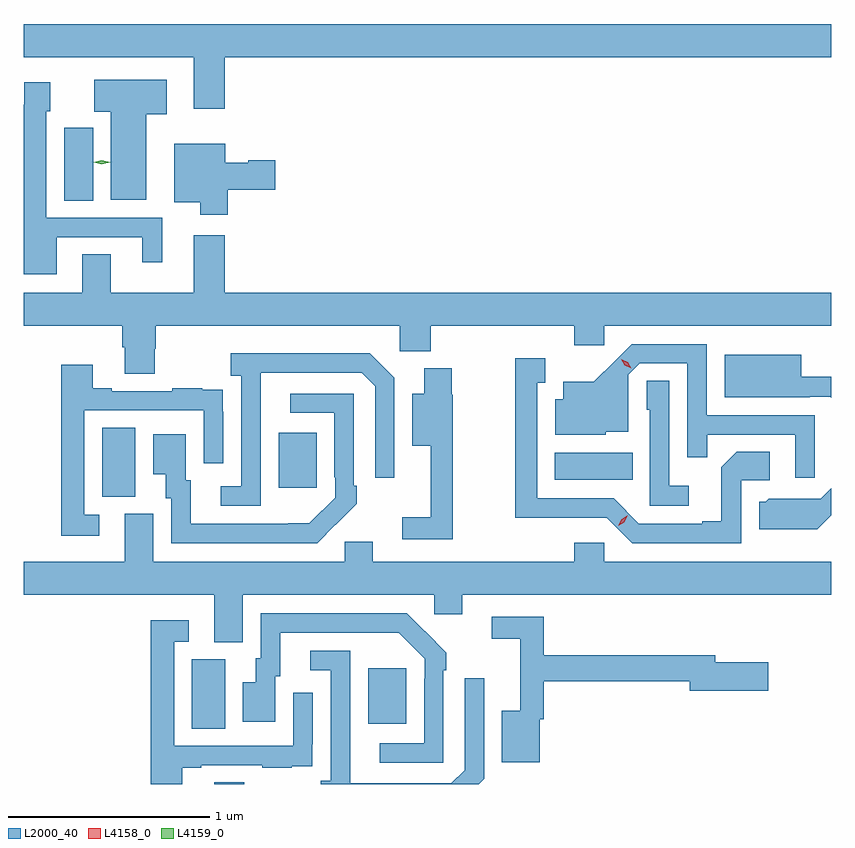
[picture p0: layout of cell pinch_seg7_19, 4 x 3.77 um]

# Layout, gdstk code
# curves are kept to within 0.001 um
import gdstk
lib = gdstk.Library(unit=1e-6, precision=1e-09)
def R(c, l, rs):  # rectangles x0, y0, x1, y1
    for r in rs: c.add(gdstk.rectangle(r[:2], r[2:], *l))
def P(c, l, *ps):  # polygons
    for p in ps: c.add(gdstk.Polygon(p, *l))
L2000_40 = (2000, 40)
L4158_0 = (4158, 0)
L4159_0 = (4159, 0)

pinch_seg7_19 = lib.new_cell('pinch_seg7_19')
R(pinch_seg7_19, L2000_40, [(1018.133,1058.286,1018.281,1058.294), (1018.022,1058.56,1018.186,1058.904), (1018.895,1058.585,1019.083,1058.86), (1017.578,1059.709,1017.742,1060.052), (1018.451,1059.753,1018.639,1060.027), (1019.819,1059.794,1020.206,1059.928), (1017.389,1061.176,1017.532,1061.537)])
P(pinch_seg7_19, L2000_40, [(1018.184,1061.888),(1021.189,1061.888),(1021.189,1062.052),(1017.189,1062.052),(1017.189,1061.888),(1018.031,1061.888),(1018.031,1061.631),(1018.184,1061.631)],
  [(1017.796,1061.606),(1017.898,1061.606),(1017.898,1061.776),(1017.538,1061.776),(1017.538,1061.618),(1017.62,1061.618),(1017.62,1061.18),(1017.796,1061.18)],
  [(1017.352,1060.995),(1017.776,1060.995),(1017.776,1060.872),(1017.874,1060.872),(1017.874,1061.091),(1017.3,1061.091),(1017.3,1061.619),(1017.319,1061.619),(1017.319,1061.764),(1017.192,1061.764),(1017.192,1061.651),(1017.189,1061.651),(1017.189,1060.811),(1017.352,1060.811)],
  [(1018.199,1061.231),(1018.435,1061.231),(1018.435,1061.378),(1018.302,1061.378),(1018.302,1061.365),(1018.186,1061.365),(1018.186,1061.458),(1017.935,1061.458),(1017.935,1061.168),(1018.064,1061.168),(1018.064,1061.106),(1018.199,1061.106)],
  [(1017.837,1060.443),(1017.842,1060.443),(1017.842,1060.556),(1019.052,1060.556),(1019.052,1060.43),(1019.204,1060.43),(1019.204,1060.556),(1019.915,1060.556),(1019.915,1060.461),(1020.066,1060.461),(1020.066,1060.556),(1021.189,1060.556),(1021.189,1060.72),(1018.184,1060.72),(1018.184,1061.005),(1018.031,1061.005),(1018.031,1060.72),(1017.619,1060.72),(1017.619,1060.91),(1017.479,1060.91),(1017.479,1060.72),(1017.189,1060.72),(1017.189,1060.556),(1017.677,1060.556),(1017.677,1060.45),(1017.689,1060.45),(1017.689,1060.318),(1017.837,1060.318)],
  [(1021.107,1060.113),(1020.573,1060.113),(1020.573,1060.464),(1020.2,1060.464),(1020.013,1060.279),(1019.861,1060.279),(1019.861,1060.192),(1019.822,1060.192),(1019.822,1060.016),(1020.072,1060.016),(1020.072,1060.031),(1020.183,1060.031),(1020.183,1060.314),(1020.24,1060.371),(1020.477,1060.371),(1020.477,1059.904),(1020.575,1059.904),(1020.575,1060.017),(1021.011,1060.017),(1021.011,1059.804),(1021.107,1059.804)],
  [(1018.362,1060.123),(1018.363,1060.323),(1018.863,1060.323),(1018.929,1060.257),(1018.929,1059.804),(1019.025,1059.804),(1019.025,1060.299),(1018.904,1060.42),(1018.215,1060.42),(1018.215,1060.31),(1018.266,1060.31),(1018.266,1059.762),(1018.164,1059.762),(1018.164,1059.666),(1018.362,1059.666)],
  [(1021.189,1060.303),(1021.042,1060.303),(1021.042,1060.414),(1020.662,1060.414),(1020.662,1060.202),(1021.082,1060.202),(1021.082,1060.206),(1021.182,1060.206),(1021.189,1060.199)],
  [(1020.744,1059.792),(1020.886,1059.792),(1020.886,1059.932),(1020.721,1059.932),(1020.645,1059.856),(1020.645,1059.589),(1020.551,1059.589),(1020.551,1059.576),(1020.237,1059.576),(1020.111,1059.702),(1019.734,1059.702),(1019.734,1060.275),(1019.773,1060.275),(1019.773,1060.396),(1019.623,1060.396),(1019.623,1059.605),(1020.078,1059.606),(1020.204,1059.48),(1020.744,1059.48)],
  [(1017.562,1059.621),(1017.489,1059.621),(1017.489,1060.137),(1018.08,1060.137),(1018.08,1059.876),(1018.176,1059.876),(1018.176,1060.13),(1018.175,1060.13),(1018.175,1060.239),(1018.073,1060.239),(1018.073,1060.246),(1017.925,1060.246),(1017.925,1060.233),(1017.625,1060.233),(1017.625,1060.246),(1017.529,1060.246),(1017.529,1060.363),(1017.373,1060.363),(1017.373,1059.516),(1017.562,1059.516)],
  [(1019.314,1060.215),(1019.31,1060.215),(1019.31,1060.345),(1019.174,1060.345),(1019.174,1060.219),(1019.114,1060.219),(1019.114,1059.962),(1019.204,1059.962),(1019.204,1059.607),(1019.064,1059.607),(1019.064,1059.498),(1019.314,1059.498)],
  [(1020.484,1059.763),(1020.387,1059.763),(1020.387,1060.283),(1020.276,1060.283),(1020.276,1060.14),(1020.291,1060.14),(1020.291,1059.666),(1020.484,1059.666)],
  [(1018.733,1059.571),(1018.734,1059.57),(1018.839,1059.675),(1018.839,1059.763),(1018.824,1059.763),(1018.824,1060.221),(1018.509,1060.221),(1018.509,1060.125),(1018.728,1060.125),(1018.728,1059.805),(1018.731,1059.805),(1018.731,1059.705),(1018.603,1059.577),(1018.015,1059.576),(1018.015,1059.792),(1017.991,1059.792),(1017.991,1060.018),(1017.83,1060.018),(1017.83,1059.821),(1017.893,1059.821),(1017.893,1059.702),(1017.918,1059.702),(1017.918,1059.48),(1018.642,1059.48)],
  [(1021.189,1059.617),(1021.189,1059.751),(1021.137,1059.699),(1021.014,1059.699),(1021.014,1059.7),(1020.88,1059.7),(1020.864,1059.684),(1020.833,1059.684),(1020.833,1059.548),(1021.121,1059.548)],
  [(1018.273,1059.224),(1019.223,1059.224),(1019.223,1059.126),(1019.362,1059.126),(1019.362,1059.224),(1021.189,1059.224),(1021.189,1059.388),(1020.066,1059.388),(1020.066,1059.481),(1019.915,1059.481),(1019.915,1059.388),(1018.918,1059.388),(1018.918,1059.486),(1018.779,1059.486),(1018.779,1059.388),(1017.829,1059.388),(1017.829,1059.624),(1017.689,1059.624),(1017.689,1059.388),(1017.189,1059.388),(1017.189,1059.224),(1018.133,1059.224),(1018.133,1058.989),(1018.273,1058.989)],
  [(1019.268,1058.849),(1019.283,1058.849),(1019.283,1058.937),(1019.086,1059.132),(1018.362,1059.132),(1018.362,1058.91),(1018.337,1058.91),(1018.337,1058.791),(1018.274,1058.791),(1018.274,1058.595),(1018.435,1058.595),(1018.435,1058.82),(1018.459,1058.82),(1018.459,1059.036),(1019.047,1059.036),(1019.175,1058.907),(1019.175,1058.807),(1019.172,1058.807),(1019.172,1058.487),(1018.953,1058.487),(1018.953,1058.391),(1019.268,1058.391)],
  [(1019.746,1058.607),(1019.765,1058.607),(1019.765,1058.794),(1020.488,1058.794),(1020.488,1058.747),(1020.877,1058.747),(1020.877,1058.889),(1020.616,1058.889),(1020.616,1058.923),(1019.765,1058.923),(1019.765,1059.114),(1019.508,1059.114),(1019.508,1059.006),(1019.648,1059.006),(1019.648,1058.65),(1019.558,1058.65),(1019.558,1058.393),(1019.746,1058.393)],
  [(1017.973,1058.367),(1018.069,1058.367),(1018.069,1058.379),(1018.369,1058.379),(1018.369,1058.367),(1018.517,1058.367),(1018.517,1058.373),(1018.619,1058.373),(1018.619,1058.482),(1018.62,1058.482),(1018.62,1058.737),(1018.524,1058.737),(1018.524,1058.475),(1017.933,1058.475),(1017.933,1058.991),(1018.006,1058.991),(1018.006,1059.097),(1017.817,1059.097),(1017.817,1058.286),(1017.973,1058.286)],
  [(1019.469,1058.313),(1019.469,1058.809),(1019.373,1058.809),(1019.373,1058.355),(1019.307,1058.289),(1018.807,1058.289),(1018.806,1058.946),(1018.608,1058.946),(1018.608,1058.85),(1018.71,1058.85),(1018.71,1058.302),(1018.659,1058.302),(1018.659,1058.286),(1019.442,1058.286)])
P(pinch_seg7_19, L4158_0, [(1020.198,1060.346),(1020.167,1060.36),(1020.15,1060.39),(1020.15,1060.39),(1020.15,1060.39),(1020.181,1060.375),(1020.198,1060.346),(1020.198,1060.346)],
  [(1020.134,1059.565),(1020.134,1059.565),(1020.151,1059.598),(1020.182,1059.617),(1020.182,1059.617),(1020.182,1059.617),(1020.165,1059.584),(1020.134,1059.565)])
P(pinch_seg7_19, L4159_0, [(1017.575,1061.358),(1017.535,1061.367),(1017.535,1061.368),(1017.535,1061.368),(1017.575,1061.378),(1017.616,1061.368),(1017.616,1061.368),(1017.616,1061.368)])

lib.write_gds('pinch_seg7_19.gds')
